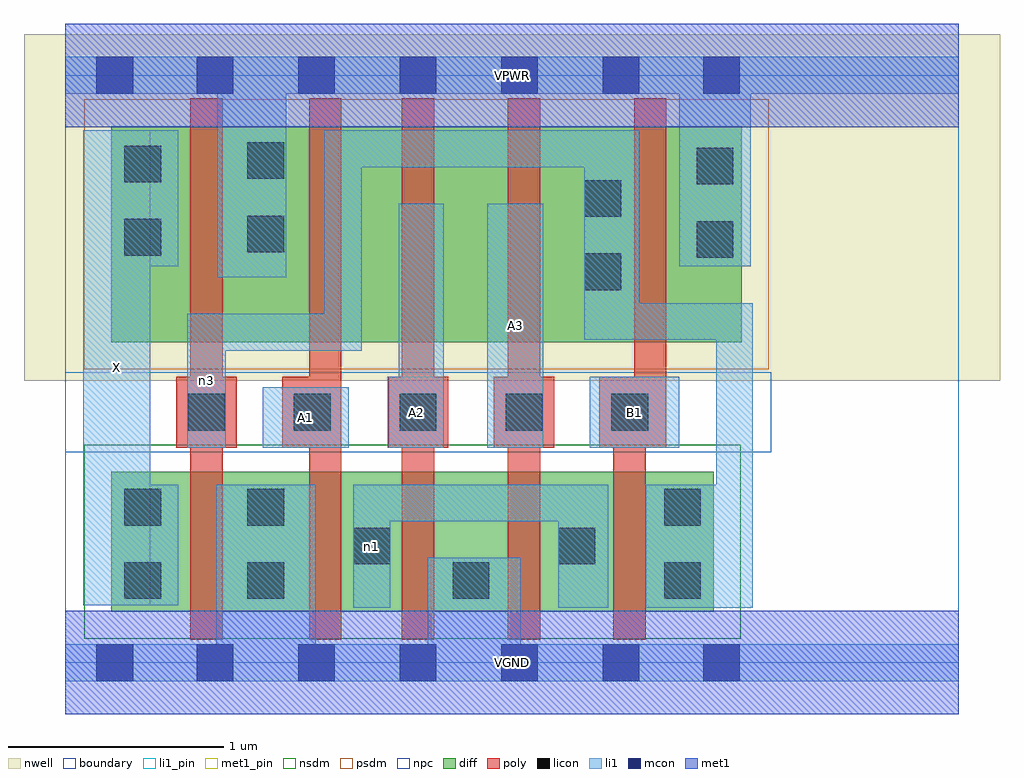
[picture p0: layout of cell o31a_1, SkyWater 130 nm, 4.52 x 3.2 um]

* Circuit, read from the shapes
.subckt o31a_1 A1 A2 A3 B1 VGND VPWR X n1 n3
XM1 VGND n3 X VSUBS sky130_fd_pr__nfet_01v8 w=0.65 l=0.15
XM2 n1 A1 VGND VSUBS sky130_fd_pr__nfet_01v8 w=0.65 l=0.15
XM3 VGND A2 n1 VSUBS sky130_fd_pr__nfet_01v8 w=0.65 l=0.15
XM4 n1 A3 VGND VSUBS sky130_fd_pr__nfet_01v8 w=0.65 l=0.15
XM5 n3 B1 n1 VSUBS sky130_fd_pr__nfet_01v8 w=0.65 l=0.15
XM6 VPWR n3 X n2 sky130_fd_pr__pfet_01v8 w=1 l=0.15
XM7 n4 A1 VPWR n2 sky130_fd_pr__pfet_01v8 w=1 l=0.15
XM8 n5 A2 n4 n2 sky130_fd_pr__pfet_01v8 w=1 l=0.15
XM9 n3 A3 n5 n2 sky130_fd_pr__pfet_01v8 w=1 l=0.15
XM10 VPWR B1 n3 n2 sky130_fd_pr__pfet_01v8 w=1 l=0.15
.ends

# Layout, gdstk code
import gdstk
lib = gdstk.Library(unit=1e-6, precision=1e-09)
def R(c, l, rs):  # rectangles x0, y0, x1, y1
    for r in rs: c.add(gdstk.rectangle(r[:2], r[2:], *l))
def A(c, l, x, y, w, h, nx, ny, dx, dy):  # array of equal rectangles
    R(c, l, [(x+i*dx, y+j*dy, x+i*dx+w, y+j*dy+h) for i in range(nx) for j in range(ny)])
nwell = (64, 20)
diff = (65, 20)
poly = (66, 20)
licon = (66, 44)
li1_pin = (67, 16)
li1 = (67, 20)
mcon = (67, 44)
met1_pin = (68, 16)
met1 = (68, 20)
nsdm = (93, 44)
psdm = (94, 20)
npc = (95, 20)
boundary = (235, 4)

o31a_1 = lib.new_cell('o31a_1')
R(o31a_1, nwell, [(-0.19,1.305,4.33,2.91), (0,1.305,4.14,2.91)])
R(o31a_1, diff, [(0.215,0.235,3.005,0.885), (0.215,1.485,3.135,2.485)])
R(o31a_1, poly, [(0.58,0.105,0.73,2.615), (1.13,0.105,1.28,2.615), (1.56,0.105,1.71,2.615), (2.05,0.105,2.2,2.615), (2.54,0.105,2.69,1.325), (0.515,0.995,0.795,1.325), (1.005,0.995,1.28,1.325), (1.495,0.995,1.775,1.325), (1.985,0.995,2.265,1.325), (2.475,0.995,2.785,1.325), (2.635,0.995,2.785,2.615)])
A(o31a_1, licon, 0.57, 1.075, 0.17, 0.17, 5, 1, 0.49, 0)
R(o31a_1, licon, [(0.275,0.295,0.445,0.465), (0.845,0.295,1.015,0.465), (1.795,0.295,1.965,0.465), (2.775,0.295,2.945,0.465), (1.335,0.455,1.505,0.625), (2.285,0.455,2.455,0.625), (0.275,0.635,0.445,0.805), (0.845,0.635,1.015,0.805), (2.775,0.635,2.945,0.805), (2.405,1.725,2.575,1.895), (2.925,1.875,3.095,2.045), (0.275,1.885,0.445,2.055), (0.845,1.9,1.015,2.07), (2.405,2.065,2.575,2.235), (2.925,2.215,3.095,2.385), (0.275,2.225,0.445,2.395), (0.845,2.24,1.015,2.41)])
R(o31a_1, li1_pin, [(0.085,0.265,0.395,2.465), (0.915,0.995,1.315,1.275), (1.5,0.995,1.755,1.325), (1.955,0.995,2.215,2.125), (2.43,0.995,2.845,1.325)])
R(o31a_1, li1, [(0,-0.085,4.14,0.085), (0.7,-0.085,1.16,0.825), (1.68,-0.085,2.11,0.485), (1.335,0.255,1.505,0.825), (2.285,0.255,2.515,0.825), (2.69,0.255,3.185,0.825), (3.015,0.255,3.185,1.665), (0.085,0.265,0.395,2.465), (0.085,0.265,0.525,0.825), (1.335,0.655,2.515,0.825), (0.565,0.995,0.745,1.615), (0.915,0.995,1.315,1.275), (1.5,0.995,1.755,1.325), (1.545,0.995,1.755,2.125), (1.955,0.995,2.215,2.125), (2.43,0.995,2.845,1.325), (0.565,1.445,1.375,1.615), (1.2,1.445,1.375,2.465), (2.405,1.495,2.66,2.465), (2.405,1.495,3.185,1.665), (0.705,1.785,1.025,2.805), (0.085,1.835,0.525,2.465), (2.845,1.835,3.175,2.805), (1.2,2.295,2.66,2.465), (0,2.635,4.14,2.805)])
A(o31a_1, mcon, 0.61, -0.085, 0.17, 0.17, 5, 2, 0.47, 2.72)
R(o31a_1, mcon, [(0.145,-0.085,0.315,0.085), (2.955,-0.085,3.125,0.085), (0.145,2.635,0.315,2.805), (2.955,2.635,3.125,2.805)])
R(o31a_1, met1_pin, [(0,-0.24,4.14,0.24), (0,2.48,4.14,2.96)])
R(o31a_1, met1, [(0,-0.24,4.14,0.24), (0,2.48,4.14,2.96)])
R(o31a_1, nsdm, [(0.09,0.11,3.13,1.01)])
R(o31a_1, psdm, [(0.09,1.36,3.26,2.61)])
R(o31a_1, npc, [(0,0.975,3.27,1.345)])
R(o31a_1, boundary, [(0,0,4.14,2.72)])
o31a_1.add(gdstk.Label('A1', (1.115,1.135), layer=67, texttype=5))
o31a_1.add(gdstk.Label('A2', (1.627,1.16), layer=67, texttype=5))
o31a_1.add(gdstk.Label('A3', (2.085,1.56), layer=67, texttype=5))
o31a_1.add(gdstk.Label('B1', (2.637,1.16), layer=67, texttype=5))
o31a_1.add(gdstk.Label('X', (0.24,1.365), layer=67, texttype=5))
o31a_1.add(gdstk.Label('n1', (1.42,0.54), layer=67, texttype=5))
o31a_1.add(gdstk.Label('n3', (0.655,1.305), layer=67, texttype=5))
o31a_1.add(gdstk.Label('VPWR', (2.07,2.72), layer=68, texttype=5))
o31a_1.add(gdstk.Label('VGND', (2.07,0), layer=68, texttype=5))
o31a_1.add(gdstk.Label('A1', (1.115,1.135), layer=67, texttype=16))
o31a_1.add(gdstk.Label('A2', (1.627,1.16), layer=67, texttype=16))
o31a_1.add(gdstk.Label('A3', (2.085,1.56), layer=67, texttype=16))
o31a_1.add(gdstk.Label('B1', (2.637,1.16), layer=67, texttype=16))
o31a_1.add(gdstk.Label('X', (0.24,1.365), layer=67, texttype=16))
o31a_1.add(gdstk.Label('VPWR', (2.07,2.72), layer=68, texttype=16))
o31a_1.add(gdstk.Label('VGND', (2.07,0), layer=68, texttype=16))

lib.write_gds('o31a_1.gds')
